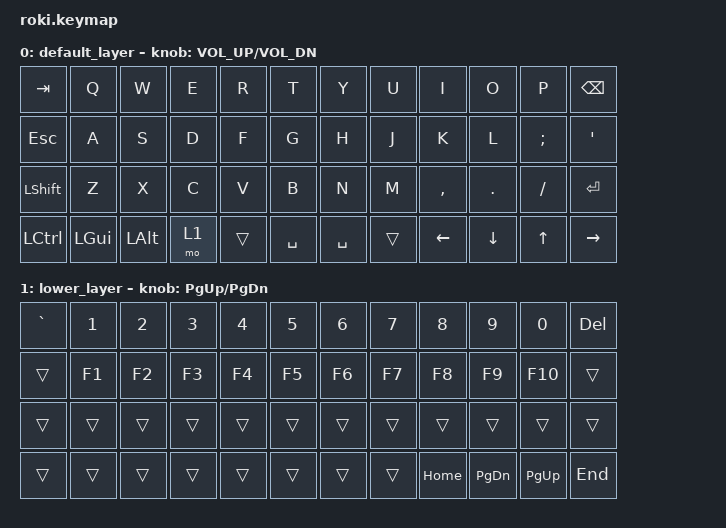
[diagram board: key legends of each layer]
#include <behaviors.dtsi>
#include <dt-bindings/zmk/keys.h>
#include <dt-bindings/zmk/bt.h>

/ {
	keymap {
		compatible = "zmk,keymap";

		default_layer {
			bindings = <
	&kp TAB   &kp Q &kp W &kp E &kp R &kp T    &kp Y &kp U &kp I    &kp O   &kp P    &kp BSPC
	&kp ESC   &kp A &kp S &kp D &kp F &kp G    &kp H &kp J &kp K    &kp L   &kp SEMI &kp SQT
	&kp LSHFT &kp Z &kp X &kp C &kp V &kp B    &kp N &kp M &kp COMMA &kp DOT &kp FSLH &kp RET
	&kp LCTRL &kp LGUI &kp LALT &mo 1 &trans &kp SPACE    &kp SPACE &trans &kp LEFT &kp DOWN &kp UP &kp RIGHT
			>;

			sensor-bindings = <&inc_dec_kp C_VOL_UP C_VOL_DN>;
		};

		lower_layer {
			bindings = <
	&kp GRAVE &kp N1 &kp N2 &kp N3 &kp N4 &kp N5    &kp N6 &kp N7 &kp N8 &kp N9 &kp N0 &kp DEL
	&trans    &kp F1 &kp F2 &kp F3 &kp F4 &kp F5    &kp F6 &kp F7 &kp F8 &kp F9 &kp F10 &trans
	&trans    &trans &trans &trans &trans &trans    &trans &trans &trans &trans &trans &trans
	&trans    &trans &trans &trans &trans &trans    &trans &trans &kp HOME &kp PG_DN &kp PG_UP &kp END
			>;

			sensor-bindings = <&inc_dec_kp PG_UP PG_DN>;
		};
	};
};
